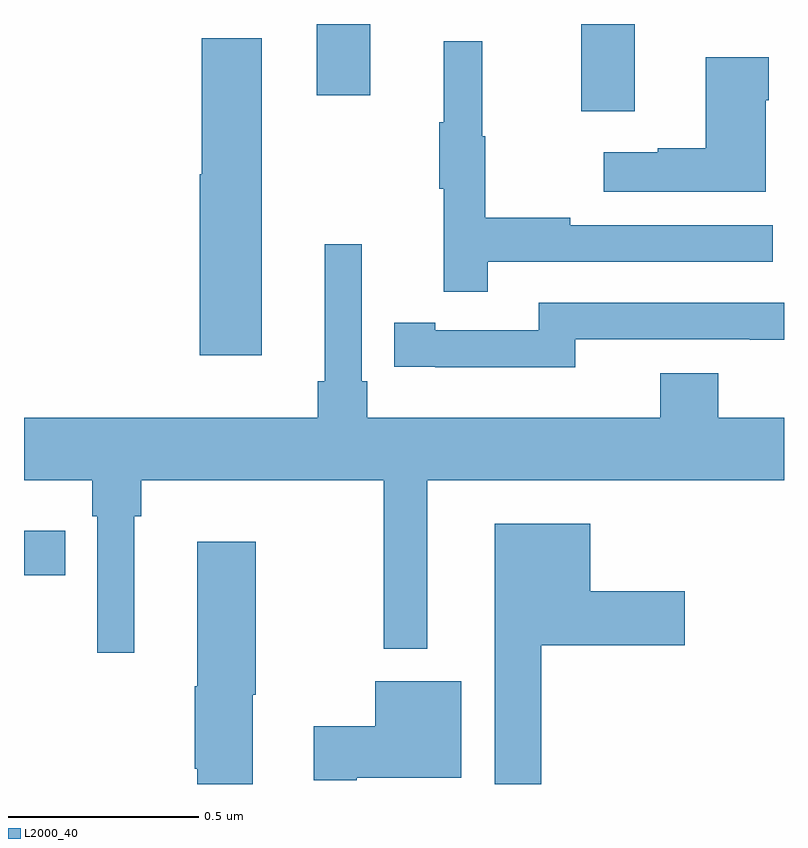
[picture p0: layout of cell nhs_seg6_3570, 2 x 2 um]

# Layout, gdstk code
import gdstk
lib = gdstk.Library(unit=1e-6, precision=1e-09)
def R(c, l, rs):  # rectangles x0, y0, x1, y1
    for r in rs: c.add(gdstk.rectangle(r[:2], r[2:], *l))
def P(c, l, *ps):  # polygons
    for p in ps: c.add(gdstk.Polygon(p, *l))
L2000_40 = (2000, 40)

nhs_seg6_3570 = lib.new_cell('nhs_seg6_3570')
R(nhs_seg6_3570, L2000_40, [(158,983.05,158.108,983.166), (159.467,984.27,159.607,984.5), (158.771,984.312,158.911,984.5)])
P(nhs_seg6_3570, L2000_40, [(158.626,984.463),(158.468,984.463),(158.468,984.105),(158.462,984.105),(158.462,983.628),(158.626,983.628)],
  [(159.221,983.874),(159.97,983.874),(159.97,983.97),(159.437,983.97),(159.437,983.99),(159.214,983.99),(159.214,984.204),(159.206,984.204),(159.206,984.454),(159.104,984.454),(159.104,984.241),(159.093,984.241),(159.093,984.067),(159.104,984.067),(159.104,983.796),(159.221,983.796)],
  [(159.952,984.299),(159.96,984.299),(159.96,984.412),(159.794,984.412),(159.794,984.173),(159.668,984.173),(159.668,984.163),(159.525,984.163),(159.525,984.059),(159.952,984.059)],
  [(158.29,983.204),(158.309,983.204),(158.309,983.3),(158.947,983.3),(158.947,982.856),(159.061,982.856),(159.061,983.3),(160,983.3),(160,983.464),(159.827,983.464),(159.827,983.581),(159.674,983.581),(159.674,983.464),(158.903,983.464),(158.903,983.56),(158.889,983.56),(158.889,983.92),(158.792,983.92),(158.792,983.56),(158.773,983.56),(158.773,983.464),(158,983.464),(158,983.3),(158.18,983.3),(158.18,983.204),(158.193,983.204),(158.193,982.845),(158.29,982.845)],
  [(159.45,983.67),(159.91,983.67),(159.91,983.669),(160,983.669),(160,983.766),(159.354,983.766),(159.354,983.694),(159.082,983.694),(159.082,983.714),(158.974,983.714),(158.974,983.598),(159.082,983.598),(159.082,983.597),(159.45,983.597)],
  [(159.361,982.865),(159.739,982.865),(159.739,983.007),(159.49,983.007),(159.49,983.185),(159.239,983.185),(159.239,982.5),(159.361,982.5)],
  [(158.602,982.735),(158.61,982.735),(158.61,983.137),(158.456,983.137),(158.456,982.757),(158.449,982.757),(158.449,982.54),(158.456,982.54),(158.456,982.5),(158.602,982.5)],
  [(158.875,982.517),(159.151,982.517),(159.151,982.771),(158.924,982.771),(158.924,982.652),(158.763,982.652),(158.763,982.51),(158.875,982.51)])

lib.write_gds('nhs_seg6_3570.gds')
